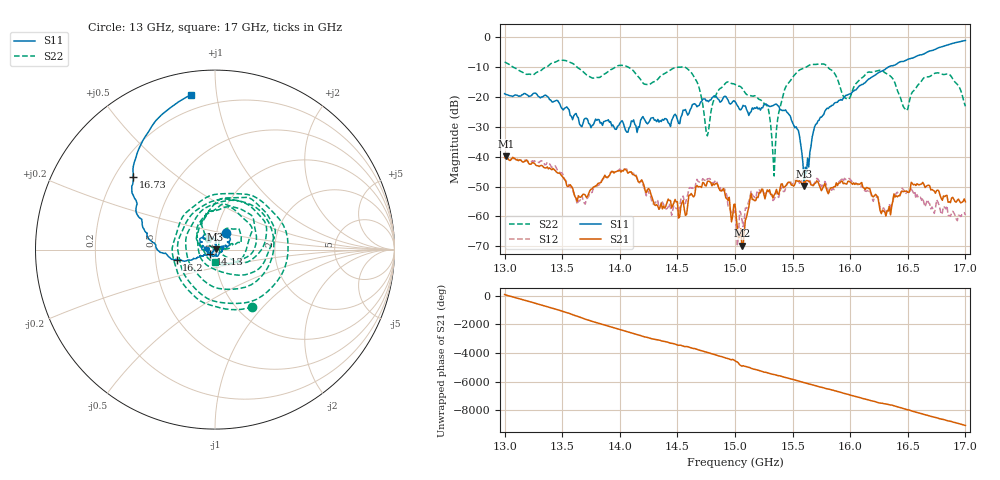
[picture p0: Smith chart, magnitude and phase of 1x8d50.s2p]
!Keysight Technologies,P9374A,MY57211807,A.19.30.04
!Date: Friday, May 08, 2026 15:21:24
!Correction: S11(C  2-Port  )
!S21(C  2-Port  )
!S12(C  2-Port  )
!S22(C  2-Port  )
!S2P File: Measurements: S11, S21, S12, S22:
# Hz S  dB  R 50
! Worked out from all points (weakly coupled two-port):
!   401 points, 13 GHz to 17 GHz, reference 50 ohm
!   highest |S21| = -39.83 dB at 13.01 GHz (marker M1); lowest = -69.8 dB at 15.06 GHz (marker M2)
!   lowest |S11| = -49.8 dB at 15.6 GHz (marker M3), VSWR 1.01, Z = 50.3 + j0.161 ohm
!   |S11| at or under -10 dB: start of sweep to 16.33 GHz
!   |S22| runs from -46.5 to -7.8 dB; largest |S21 - S12| = 0.0017
!   S11 on the Smith chart (normalised r, x): 13 GHz: 1.11, +0.21; 14.13 GHz: 0.95, -0.04; 16.2 GHz: 0.64, -0.08; 16.73 GHz: 0.27, +0.36; 17 GHz: 0.12, +0.85
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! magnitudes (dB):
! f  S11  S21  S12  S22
! 13 GHz  -19.0  -40.3  -40.3  -8.4
! 13.01 GHz  -19.2  -39.8  -39.9  -8.6
! 13.67 GHz  -30.0  -53.2  -53.1  -11.2
! 14.13 GHz  -29.2  -46.3  -46.1  -11.9
! 14.34 GHz  -28.5  -57.6  -57.6  -13.7
! 14.61 GHz  -24.4  -52.9  -50.3  -11.4
! 14.76 GHz  -21.3  -48.3  -47.4  -33.1
! 14.85 GHz  -20.7  -49.3  -49.4  -18.2
! 15 GHz  -21.6  -55.9  -58.1  -15.9
! 15.06 GHz  -23.8  -69.8  -61.0  -17.1
! 15.14 GHz  -25.0  -52.3  -51.6  -19.7
! 15.27 GHz  -22.4  -52.4  -52.1  -22.7
! 15.34 GHz  -22.7  -52.8  -54.3  -46.5
! 15.43 GHz  -24.6  -50.1  -51.6  -17.7
! 15.6 GHz  -49.8  -48.3  -48.9  -10.4
! 15.67 GHz  -33.4  -49.5  -49.7  -9.2
! 15.97 GHz  -19.5  -49.2  -47.6  -20.7
! 16.2 GHz  -13.1  -53.4  -55.0  -11.7
! 16.34 GHz  -9.9  -56.7  -55.8  -12.8
! 16.48 GHz  -7.9  -51.5  -52.5  -24.2
! 16.73 GHz  -4.3  -51.5  -59.0  -12.2
! 17 GHz  -1.2  -55.1  -59.5  -23.2
